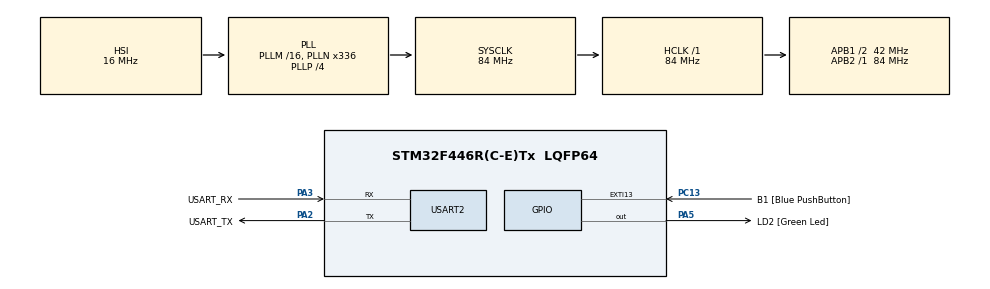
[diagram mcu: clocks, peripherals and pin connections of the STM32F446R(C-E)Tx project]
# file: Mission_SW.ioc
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FREERTOS.Queues01=RxQueue,1,MissionInput_t,0,Dynamic,NULL,NULL;TxQueue,1,TxMessage_t,0,Dynamic,NULL,NULL;SystemStatusQueue,1,SystemStatus_t,0,Dynamic,NULL,NULL
FREERTOS.Tasks01=CommRxTask,40,128,StartCommRxTask,Default,NULL,Dynamic,NULL,NULL;MissionTask,40,256,StartMissionTask,Default,NULL,Dynamic,NULL,NULL;CommTxTask,24,128,StartCommTxTask,Default,NULL,Dynamic,NULL,NULL;MonitorTask,8,128,StartMonitorTask,Default,NULL,Dynamic,NULL,NULL
FREERTOS.configUSE_NEWLIB_REENTRANT=1
Mcu.Family=STM32F4
Mcu.Name=STM32F446R(C-E)Tx
Mcu.Package=LQFP64
NVIC.PriorityGroup=NVIC_PRIORITYGROUP_4
NVIC.TIM6_DAC_IRQn=true\:15\:0\:false\:false\:true\:false\:false\:true\:true
NVIC.TimeBase=TIM6_DAC_IRQn
NVIC.TimeBaseIP=TIM6
NVIC.USART2_IRQn=true\:5\:0\:false\:false\:true\:true\:true\:true\:true
PA13.GPIO_Label=TMS
PA13.Mode=Serial_Wire
PA13.Signal=SYS_JTMS-SWDIO
PA14.GPIO_Label=TCK
PA14.Mode=Serial_Wire
PA14.Signal=SYS_JTCK-SWCLK
PA2.GPIO_Label=USART_TX
PA2.Mode=Asynchronous
PA2.Signal=USART2_TX
PA3.GPIO_Label=USART_RX
PA3.Mode=Asynchronous
PA3.Signal=USART2_RX
PA5.GPIO_Label=LD2 [Green Led]
PA5.Signal=GPIO_Output
PB3.GPIO_Label=SWO
PB3.Signal=SYS_JTDO-SWO
PC13.GPIO_Label=B1 [Blue PushButton]
PC13.GPIO_ModeDefaultEXTI=GPIO_MODE_IT_FALLING
PC13.Signal=GPXTI13
PC14-OSC32_IN.Mode=LSE-External-Oscillator
PC14-OSC32_IN.Signal=RCC_OSC32_IN
PC15-OSC32_OUT.Mode=LSE-External-Oscillator
PC15-OSC32_OUT.Signal=RCC_OSC32_OUT
PH0-OSC_IN.Mode=HSE-External-Oscillator
PH0-OSC_IN.Signal=RCC_OSC_IN
PH1-OSC_OUT.Mode=HSE-External-Oscillator
PH1-OSC_OUT.Signal=RCC_OSC_OUT
ProjectManager.HeapSize=0x200
ProjectManager.StackSize=0x400
ProjectManager.TargetToolchain=STM32CubeIDE
RCC.48MHZClocksFreq_Value=84000000
RCC.AHBFreq_Value=84000000
RCC.APB1CLKDivider=RCC_HCLK_DIV2
RCC.APB1Freq_Value=42000000
RCC.APB1TimFreq_Value=84000000
RCC.APB2Freq_Value=84000000
RCC.APB2TimFreq_Value=84000000
RCC.CortexFreq_Value=84000000
RCC.FLatency-AdvancedSettings=FLASH_LATENCY_2
RCC.HCLKFreq_Value=84000000
RCC.HSE_VALUE=8000000
RCC.HSI_VALUE=16000000
RCC.PLLN=336
RCC.PLLP=RCC_PLLP_DIV4
RCC.SYSCLKFreq_VALUE=84000000
RCC.SYSCLKSource=RCC_SYSCLKSOURCE_PLLCLK
RCC.USBFreq_Value=168000000
RCC.VCOOutputFreq_Value=336000000
USART2.VirtualMode=VM_ASYNC
VP_FREERTOS_VS_CMSIS_V2.Mode=CMSIS_V2
VP_SYS_VS_tim6.Mode=TIM6
board=NUCLEO-F446RE

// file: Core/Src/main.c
/* USER CODE BEGIN Header */
/**
 ******************************************************************************
 * @file           : main.c
 * @brief          : Main program body
 ******************************************************************************
 * @attention
 *
 * Copyright (c) 2026 STMicroelectronics.
 * All rights reserved.
 *
 * This software is licensed under terms that can be found in the LICENSE file
 * in the root directory of this software component.
 * If no LICENSE file comes with this software, it is provided AS-IS.
 *
 ******************************************************************************
 */
/* USER CODE END Header */
#include "main.h"
#include "cmsis_os.h"

/* USER CODE BEGIN Includes */
#include "communication.h"
#include "data_manager.h"
#include "waypoint_manager.h"
#include "output_data_manager.h"
#include "task.h"
#include "mission_manager.h"
#include "FreeRTOS.h"
#include "queue.h"
#include "system_monitor.h"
/* USER CODE END Includes */

UART_HandleTypeDef huart2;

/* Definitions for CommRxTask */
osThreadId_t CommRxTaskHandle;
const osThreadAttr_t CommRxTask_attributes = {
  .name = "CommRxTask",
  .stack_size = 128 * 4,
  .priority = (osPriority_t) osPriorityHigh,
};
/* Definitions for MissionTask */
osThreadId_t MissionTaskHandle;
const osThreadAttr_t MissionTask_attributes = {
  .name = "MissionTask",
  .stack_size = 256 * 4,
  .priority = (osPriority_t) osPriorityHigh,
};
/* Definitions for CommTxTask */
osThreadId_t CommTxTaskHandle;
const osThreadAttr_t CommTxTask_attributes = {
  .name = "CommTxTask",
  .stack_size = 128 * 4,
  .priority = (osPriority_t) osPriorityNormal,
};
/* Definitions for MonitorTask */
osThreadId_t MonitorTaskHandle;
const osThreadAttr_t MonitorTask_attributes = {
  .name = "MonitorTask",
  .stack_size = 128 * 4,
  .priority = (osPriority_t) osPriorityLow,
};
/* Definitions for RxQueue */
osMessageQueueId_t RxQueueHandle;
const osMessageQueueAttr_t RxQueue_attributes = {
  .name = "RxQueue"
};
/* Definitions for TxQueue */
osMessageQueueId_t TxQueueHandle;
const osMessageQueueAttr_t TxQueue_attributes = {
  .name = "TxQueue"
};
/* Definitions for SystemStatusQueue */
osMessageQueueId_t SystemStatusQueueHandle;
const osMessageQueueAttr_t SystemStatusQueue_attributes = {
  .name = "SystemStatusQueue"
};

void SystemClock_Config(void);
static void MX_GPIO_Init(void);
static void MX_USART2_UART_Init(void);
void StartCommRxTask(void *argument);
void StartMissionTask(void *argument);
void StartCommTxTask(void *argument);
void StartMonitorTask(void *argument);

int main(void)
{

  /* MCU Configuration--------------------------------------------------------*/

  /* Reset of all peripherals, Initializes the Flash interface and the Systick. */
  HAL_Init();

  /* Configure the system clock */
  SystemClock_Config();

  /* Initialize all configured peripherals */
  MX_GPIO_Init();
  MX_USART2_UART_Init();

  /* Init scheduler */
  osKernelInitialize();

  /* Create the queue(s) */
  /* creation of RxQueue */
  RxQueueHandle = osMessageQueueNew (1, sizeof(MissionInput_t), &RxQueue_attributes);

  /* creation of TxQueue */
  TxQueueHandle = osMessageQueueNew (1, sizeof(TxMessage_t), &TxQueue_attributes);

  /* creation of SystemStatusQueue */
  SystemStatusQueueHandle = osMessageQueueNew (1, sizeof(SystemStatus_t), &SystemStatusQueue_attributes);

  /* Create the thread(s) */
  /* creation of CommRxTask */
  CommRxTaskHandle = osThreadNew(StartCommRxTask, NULL, &CommRxTask_attributes);

  /* creation of MissionTask */
  MissionTaskHandle = osThreadNew(StartMissionTask, NULL, &MissionTask_attributes);

  /* creation of CommTxTask */
  CommTxTaskHandle = osThreadNew(StartCommTxTask, NULL, &CommTxTask_attributes);

  /* creation of MonitorTask */
  MonitorTaskHandle = osThreadNew(StartMonitorTask, NULL, &MonitorTask_attributes);

  /* Start scheduler */
  osKernelStart();

  /* We should never get here as control is now taken by the scheduler */

  /* Infinite loop */
	while (1) {

	}
}

void SystemClock_Config(void)
{
  RCC_OscInitTypeDef RCC_OscInitStruct = {0};
  RCC_ClkInitTypeDef RCC_ClkInitStruct = {0};

  /** Configure the main internal regulator output voltage
  */
  __HAL_RCC_PWR_CLK_ENABLE();
  __HAL_PWR_VOLTAGESCALING_CONFIG(PWR_REGULATOR_VOLTAGE_SCALE3);

  /** Initializes the RCC Oscillators according to the specified parameters
  * in the RCC_OscInitTypeDef structure.
  */
  RCC_OscInitStruct.OscillatorType = RCC_OSCILLATORTYPE_HSI;
  RCC_OscInitStruct.HSIState = RCC_HSI_ON;
  RCC_OscInitStruct.HSICalibrationValue = RCC_HSICALIBRATION_DEFAULT;
  RCC_OscInitStruct.PLL.PLLState = RCC_PLL_ON;
  RCC_OscInitStruct.PLL.PLLSource = RCC_PLLSOURCE_HSI;
  RCC_OscInitStruct.PLL.PLLM = 16;
  RCC_OscInitStruct.PLL.PLLN = 336;
  RCC_OscInitStruct.PLL.PLLP = RCC_PLLP_DIV4;
  RCC_OscInitStruct.PLL.PLLQ = 2;
  RCC_OscInitStruct.PLL.PLLR = 2;
  if (HAL_RCC_OscConfig(&RCC_OscInitStruct) != HAL_OK)
  {
    Error_Handler();
  }

  /** Initializes the CPU, AHB and APB buses clocks
  */
  RCC_ClkInitStruct.ClockType = RCC_CLOCKTYPE_HCLK|RCC_CLOCKTYPE_SYSCLK
                              |RCC_CLOCKTYPE_PCLK1|RCC_CLOCKTYPE_PCLK2;
  RCC_ClkInitStruct.SYSCLKSource = RCC_SYSCLKSOURCE_PLLCLK;
  RCC_ClkInitStruct.AHBCLKDivider = RCC_SYSCLK_DIV1;
  RCC_ClkInitStruct.APB1CLKDivider = RCC_HCLK_DIV2;
  RCC_ClkInitStruct.APB2CLKDivider = RCC_HCLK_DIV1;

  if (HAL_RCC_ClockConfig(&RCC_ClkInitStruct, FLASH_LATENCY_2) != HAL_OK)
  {
    Error_Handler();
  }
}

static void MX_USART2_UART_Init(void)
{

  huart2.Instance = USART2;
  huart2.Init.BaudRate = 115200;
  huart2.Init.WordLength = UART_WORDLENGTH_8B;
  huart2.Init.StopBits = UART_STOPBITS_1;
  huart2.Init.Parity = UART_PARITY_NONE;
  huart2.Init.Mode = UART_MODE_TX_RX;
  huart2.Init.HwFlowCtl = UART_HWCONTROL_NONE;
  huart2.Init.OverSampling = UART_OVERSAMPLING_16;
  if (HAL_UART_Init(&huart2) != HAL_OK)
  {
    Error_Handler();
  }

}

static void MX_GPIO_Init(void)
{
  GPIO_InitTypeDef GPIO_InitStruct = {0};

  /* GPIO Ports Clock Enable */
  __HAL_RCC_GPIOC_CLK_ENABLE();
  __HAL_RCC_GPIOH_CLK_ENABLE();
  __HAL_RCC_GPIOA_CLK_ENABLE();
  __HAL_RCC_GPIOB_CLK_ENABLE();

  /*Configure GPIO pin Output Level */
  HAL_GPIO_WritePin(LD2_GPIO_Port, LD2_Pin, GPIO_PIN_RESET);

  /*Configure GPIO pin : B1_Pin */
  GPIO_InitStruct.Pin = B1_Pin;
  GPIO_InitStruct.Mode = GPIO_MODE_IT_FALLING;
  GPIO_InitStruct.Pull = GPIO_NOPULL;
  HAL_GPIO_Init(B1_GPIO_Port, &GPIO_InitStruct);

  /*Configure GPIO pin : LD2_Pin */
  GPIO_InitStruct.Pin = LD2_Pin;
  GPIO_InitStruct.Mode = GPIO_MODE_OUTPUT_PP;
  GPIO_InitStruct.Pull = GPIO_NOPULL;
  GPIO_InitStruct.Speed = GPIO_SPEED_FREQ_LOW;
  HAL_GPIO_Init(LD2_GPIO_Port, &GPIO_InitStruct);

}

void StartCommRxTask(void *argument)
{
  /* USER CODE BEGIN 5 */

	RxMessage_t rx_message = { 0 };
	MissionInput_t mission_input = { 0 };

	while (StartReceive() != RX_SUCCESS) {
		vTaskDelay(pdMS_TO_TICKS(10U));
	}

	for (;;) {
		if (Receive() != RX_SUCCESS) {
			continue;
		}
		if (Parse(&rx_message) != PARSE_SUCCESS) {
			continue; /* Destination only: keep it until a Current arrives. */
		}
		if (UpdateData(&rx_message) != UPDATE_SUCCESS
				|| CreateMissionInput(&mission_input) != INPUT_SUCCESS) {
			continue;
		}
		if (osMessageQueuePut(RxQueueHandle, &mission_input, 0U, 0U) == osOK) {
			ConfirmRxMessageDelivered();
		}
		/* If the queue is full, pending destination/start survive. */
	}
  /* USER CODE END 5 */
}

void StartMissionTask(void *argument)
{
  /* USER CODE BEGIN StartMissionTask */

	MissionInput_t mission_input = { 0 };
	TargetCommand_t target_command = { 0 };
	MissionState_t current_mission_state = MISSION_STATE_INITIALIZE;
	MissionProcessResult_t process_result = MISSION_PROCESS_FAIL;
	WaypointList_t current_waypoint_list = { 0 };
	TxMessage_t txmessage = { 0 };
	bool target_available = false;

	/* Phase 1: retain the latest monitored status without changing flight. */
	SystemStatus_t system_status = { .communication_status = COMM_ERROR,
			.fuel_status = FUEL_NORMAL };

	for (;;) {
		(void)osMessageQueueGet(SystemStatusQueueHandle, &system_status,
				NULL, 0U);
		if (osMessageQueueGet(RxQueueHandle, &mission_input,
		NULL,
		pdMS_TO_TICKS(50U)) != osOK) {
			continue;
		}

		process_result = ProcessMission(&mission_input, &system_status);
		if (process_result == MISSION_PROCESS_FAIL) {
			continue;
		}

		current_mission_state = GetMissionState();
		target_available = GetTargetCommand(&target_command);

		if (target_available == false) { //만들어진 것이 없을 시 현재 비행기의 고도,속도,방향을 목표값으로 지정
			target_command.target_altitude =
					mission_input.aircraft_state.current_altitude;
			target_command.target_heading =
					mission_input.aircraft_state.current_heading;
			target_command.target_speed =
					mission_input.aircraft_state.current_speed;
		}
		if (UpdateOutputData(current_mission_state, &target_command,
				GetCurrentWaypointIndex()) == OUTPUT_UPDATE_FAIL) {
			continue;
		}
		if (mission_input.destination_valid) {
			if (GetWaypointList(&current_waypoint_list)) {
				if (UpdateWaypointData(&current_waypoint_list)
						== WAYPOINT_OUTPUT_UPDATE_FAIL) {
					continue;
				}

			} else {
				continue;
			}

		}

		if (CreateTxMessage(&txmessage) == TX_MESSAGE_SUCCESS) {
			if (xQueueOverwrite((QueueHandle_t) TxQueueHandle,
					&txmessage) != pdPASS) {
				continue;
			}
		}

	}

  /* USER CODE END StartMissionTask */
}

void StartCommTxTask(void *argument)
{
  /* USER CODE BEGIN StartCommTxTask */
	/* Infinite loop */
	TxMessage_t tx_message = { 0 };
	bool retry_pending = false;
	for (;;) {
		if (osMessageQueueGet(TxQueueHandle, &tx_message,
		NULL, retry_pending ? 0U : osWaitForever) == osOK) {
			/* Prefer the newest queued output/route over a failed older packet. */
			retry_pending = (CreateTxPacket(&tx_message) == PACKET_SUCCESS);
		}
		if (!retry_pending) {
			continue;
		}
		retry_pending = (Transmit() != TRANSMIT_SUCCESS);
		/* Also acknowledge 0x03 success when the subsequent 0x04 failed. */
		ConfirmWaypointTransmitted(GetTransmittedWaypointVersion());
		if (retry_pending) {
			/* Retry even without a new message, with bounded CPU usage. */
			vTaskDelay(pdMS_TO_TICKS(10U));
		}
	}
  /* USER CODE END StartCommTxTask */
}

void StartMonitorTask(void *argument)
{
  /* USER CODE BEGIN StartMonitorTask */
	TickType_t last_wake_time = xTaskGetTickCount();
	for (;;) {
		float current_fuel;
		(void)UpdateCommunicationStatus(GetCommunicationStatus());
		if (GetCurrentFuel(&current_fuel)) {
			(void)CheckFuelStatus(current_fuel);
		}
		/* No valid fuel sample: preserve the last known fuel status. */
		SystemStatus_t status = GetSystemStatus();
		(void)xQueueOverwrite((QueueHandle_t)SystemStatusQueueHandle, &status);
		vTaskDelayUntil(&last_wake_time, pdMS_TO_TICKS(50U));
	}
  /* USER CODE END StartMonitorTask */
}

void HAL_TIM_PeriodElapsedCallback(TIM_HandleTypeDef *htim)
{
  if (htim->Instance == TIM6)
  {
    HAL_IncTick();
  }
}

void Error_Handler(void)
{
	__disable_irq();
	while (1) {
	}
}
